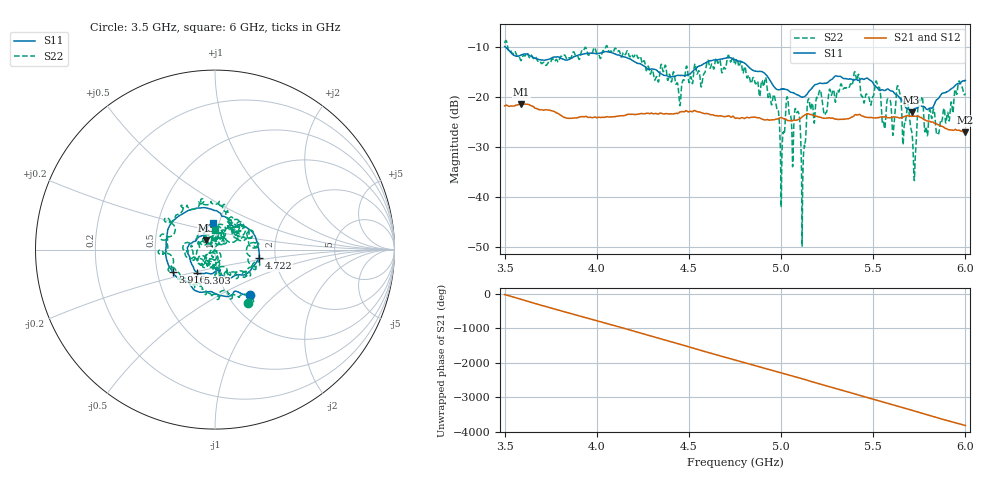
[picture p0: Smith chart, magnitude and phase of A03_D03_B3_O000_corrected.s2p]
! Created with skrf 1.9.0 (http://scikit-rf.org).
# Hz S RI R 50.0
!freq ReS11 ImS11 ReS21 ImS21 ReS12 ImS12 ReS22 ImS22
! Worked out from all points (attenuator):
!   1601 points, 3.5 GHz to 6 GHz, reference 50 ohm
!   highest |S21| = -21.38 dB at 3.591 GHz (marker M1); lowest = -27.0 dB at 5.998 GHz (marker M2)
!   lowest |S11| = -23.1 dB at 5.708 GHz (marker M3), VSWR 1.15, Z = 45.2 + j4.69 ohm
!   |S11| at or under -10 dB: 3.506 GHz to end of sweep
!   |S22| runs from -49.9 to -8.6 dB; largest |S21 - S12| = 0.00096
!   S11 on the Smith chart (normalised r, x): 3.5 GHz: 1.26, -0.72; 3.916 GHz: 0.60, -0.16; 4.722 GHz: 1.64, -0.17; 5.303 GHz: 0.80, -0.21; 6 GHz: 0.94, +0.28
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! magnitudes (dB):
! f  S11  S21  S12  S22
! 3.5 GHz  -9.9  -21.8  -21.8  -9.1
! 3.591 GHz  -11.5  -21.4  -21.4  -12.6
! 3.916 GHz  -11.5  -23.9  -23.9  -11.0
! 3.917 GHz  -11.5  -23.9  -23.9  -10.8
! 4.334 GHz  -15.0  -23.4  -23.3  -17.0
! 4.722 GHz  -12.1  -23.9  -23.8  -12.5
! 4.75 GHz  -12.5  -24.2  -24.2  -13.5
! 4.967 GHz  -18.1  -24.5  -24.5  -20.4
! 5.005 GHz  -18.3  -24.1  -24.2  -31.5
! 5.034 GHz  -18.6  -24.7  -24.6  -20.0
! 5.088 GHz  -19.5  -24.6  -24.6  -23.0
! 5.119 GHz  -20.0  -23.8  -23.8  -34.6
! 5.167 GHz  -18.2  -23.5  -23.5  -21.2
! 5.303 GHz  -15.8  -24.4  -24.4  -19.0
! 5.584 GHz  -18.5  -24.1  -24.1  -20.4
! 5.638 GHz  -19.9  -24.1  -24.1  -18.2
! 5.708 GHz  -23.1  -23.8  -23.8  -26.8
! 5.727 GHz  -22.3  -23.8  -23.8  -33.1
! 5.756 GHz  -21.8  -24.1  -24.0  -20.8
! 5.85 GHz  -20.4  -25.5  -25.4  -27.1
! 5.998 GHz  -16.7  -27.0  -27.0  -19.4
! 6 GHz  -16.6  -27.0  -27.0  -19.3
